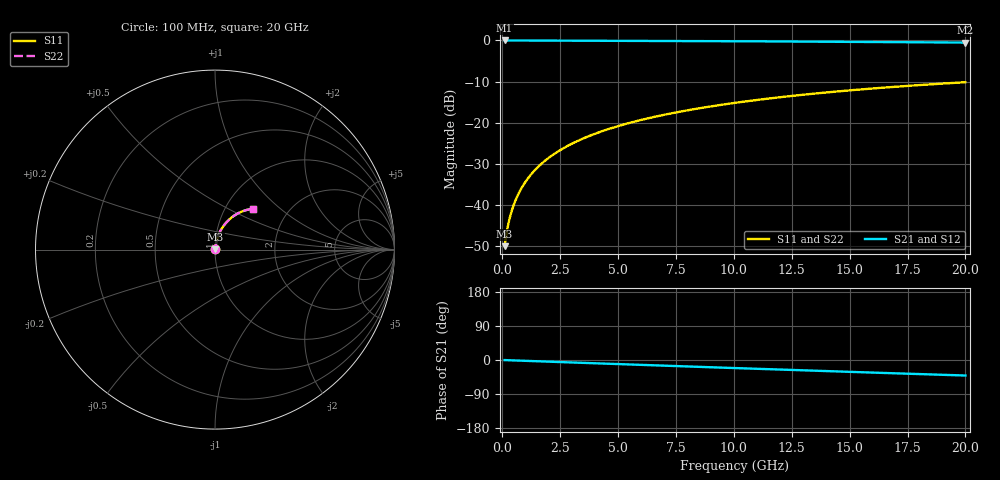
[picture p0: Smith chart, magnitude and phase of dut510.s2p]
! Touchstone file exported from HFSS 2026.1.0
!  File:  C:/ffzhzh/LocalFiles/Ansys_Project_Files/temp_train_TMRDL_510_1783006905_4048.aedt
!  Generated:  11:43:10 PM Jul  2, 2026
!  Design:  TMRDL
!  Project:  temp_train_TMRDL_510_1783006905_4048
! Variables:
!  h_bsmrdl = 2um
!  h_ox = 20um
!  h_rdl = 5um
!  h_sub = 80um
!  h_tmrdl = 3.99um
!  h_tsv = 80um
!  h_via = 3um
!  l_bsmrdl = 300um
!  l_sub = 1031.8um
!  l_tmrdl = 631.8um
!  m_sub = 200um
!  pitch = 47.82um
!  r_tsv = 6um
!  s_tmrdl = 10um
!  w_bsmrdl = 18um
!  w_sub = 500um
!  w_tmrdl = 26.77um
!  x_tsv_center1 = 645.185um
!  x_tsv_center2 = 963.185um
!  x_tsv_center3 = 1621.755um
!  x_tsv_center4 = 1939.755um
!  x_tsv_center5 = 2598.325um
!  x_tsv_center6 = 2916.325um
# GHz S MA R 50.000000
! Terminal data exported
! Port[1] = TM_RDL1_1_T1
! Port[2] = TM_RDL1_1_T2
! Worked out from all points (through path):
!   200 points, 100 MHz to 20 GHz, reference 50 ohm
!   highest |S21| = -0.02 dB at 100 MHz (marker M1); lowest = -0.5 dB at 20 GHz (marker M2)
!   group delay of S21, straight-line fit = 5.69 ps
!   lowest |S11| = -50.0 dB at 100 MHz (marker M3), VSWR 1.01, Z = 50.2 + j0.213 ohm
!   |S11| at or under -10 dB: start of sweep to end of sweep
!   |S22| runs from -50.0 to -10.2 dB; largest |S21 - S12| = 2e-15
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0.1  0.003159 42.0  0.9977 -0.2  0.9977 -0.2  0.003159 42.0
! Gamma 0 0 0 0
! Port Impedance 50 0 50 0
0.2  0.004843 58.2  0.9975 -0.5  0.9975 -0.5  0.004844 58.2
0.3  0.006615 65.2  0.9973 -0.7  0.9973 -0.7  0.006616 65.3
0.4  0.008381 69.3  0.9972 -0.9  0.9972 -0.9  0.008383 69.3
0.5  0.01015 72.0  0.997 -1.1  0.997 -1.1  0.01015 72.0
0.6  0.01192 74.0  0.997 -1.3  0.997 -1.3  0.01192 74.0
0.8  0.01549 76.6  0.9968 -1.8  0.9968 -1.8  0.0155 76.6
1.1  0.02091 78.7  0.9966 -2.4  0.9966 -2.4  0.02092 78.7
1.3  0.02455 79.4  0.9965 -2.8  0.9965 -2.8  0.02455 79.4
1.6  0.03002 79.9  0.9962 -3.5  0.9962 -3.5  0.03002 79.9
2.1  0.03913 80.1  0.9957 -4.6  0.9957 -4.6  0.03913 80.1
2.7  0.05002 79.6  0.9949 -5.9  0.9949 -5.9  0.05002 79.6
3.5  0.0644 78.5  0.9936 -7.6  0.9936 -7.6  0.0644 78.5
4.2  0.07683 77.3  0.9922 -9.1  0.9922 -9.1  0.07683 77.3
5  0.09083 75.9  0.9906 -10.8  0.9906 -10.8  0.09083 75.8
5.9  0.1063 74.2  0.9885 -12.7  0.9885 -12.7  0.1063 74.1
6.8  0.1215 72.4  0.9862 -14.6  0.9862 -14.6  0.1215 72.4
8.3  0.1463 69.5  0.982 -17.7  0.982 -17.7  0.1463 69.5
10.1  0.1749 66.0  0.9766 -21.4  0.9766 -21.4  0.1749 66.0
13.4  0.2244 59.6  0.9654 -28.1  0.9654 -28.1  0.2245 59.6
16.7  0.2697 53.4  0.9531 -34.6  0.9531 -34.6  0.2697 53.3
20  0.3101 47.2  0.9403 -41.0  0.9403 -41.0  0.3102 47.1
